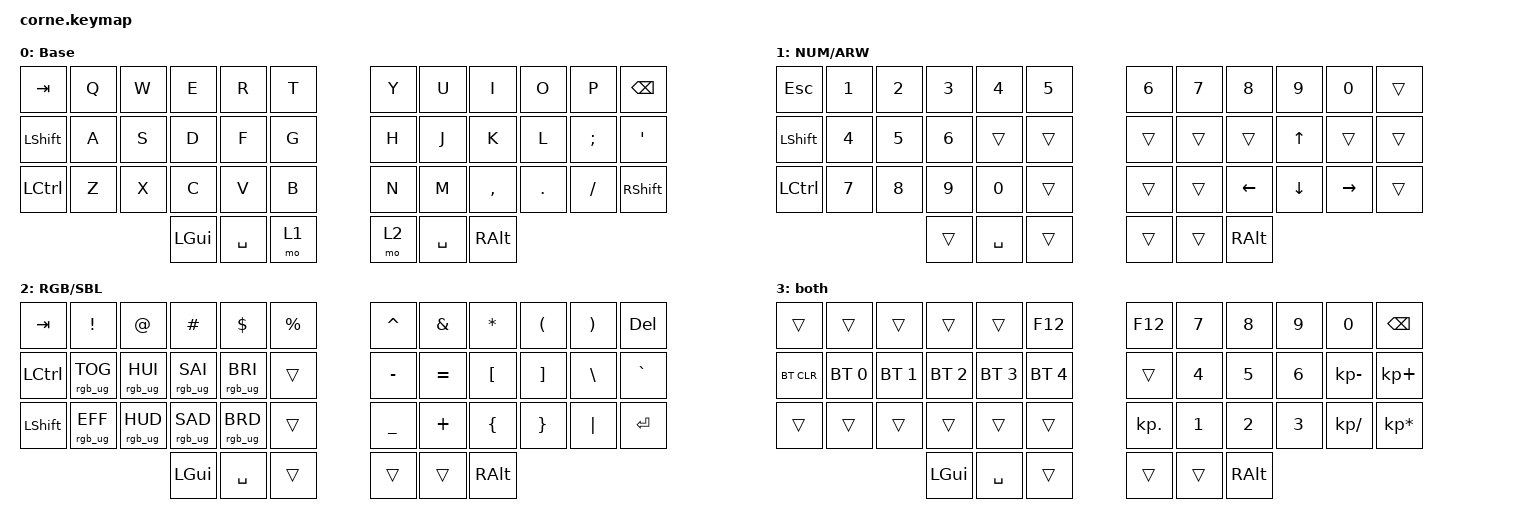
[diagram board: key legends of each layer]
/*
 * Copyright (c) 2020 The ZMK Contributors
 *
 * SPDX-License-Identifier: MIT
 */

#include <behaviors.dtsi>
#include <dt-bindings/zmk/bt.h>
#include <dt-bindings/zmk/keys.h>
#include <dt-bindings/zmk/rgb.h>

/ {
    keymap {
        compatible = "zmk,keymap";

        default_layer {
            // -----------------------------------------------------------------------------------------
            // |  TAB |  Q  |  W  |  E  |  R  |  T  |   |  Y  |  U   |  I  |  O  |  P  | BKSP |
            // | CTRL |  A  |  S  |  D  |  F  |  G  |   |  H  |  J   |  K  |  L  |  ;  |  '   |
            // | SHFT |  Z  |  X  |  C  |  V  |  B  |   |  N  |  M   |  ,  |  .  |  /  | ESC  |
            //                    | GUI | LWR | SPC |   | ENT | RSE  | ALT |

            bindings = <
&kp TAB           &kp Q  &kp W  &kp E     &kp R      &kp T    &kp Y  &kp U      &kp I      &kp O    &kp P     &kp BSPC
&kp LEFT_SHIFT    &kp A  &kp S  &kp D     &kp F      &kp G    &kp H  &kp J      &kp K      &kp L    &kp SEMI  &kp SQT
&kp LEFT_CONTROL  &kp Z  &kp X  &kp C     &kp V      &kp B    &kp N  &kp M      &kp COMMA  &kp DOT  &kp FSLH  &kp RIGHT_SHIFT
                                &kp LGUI  &kp SPACE  &mo 1    &mo 2  &kp SPACE  &kp RALT
            >;

            label = "Base";
        };

        lower_layer {
            // -----------------------------------------------------------------------------------------
            // |  TAB |  1  |  2  |  3  |  4  |  5  |   |  6  |  7  |  8  |  9  |  0  | BKSP |
            // | BTCLR| BT1 | BT2 | BT3 | BT4 | BT5 |   | LFT | DWN |  UP | RGT |     |      |
            // | SHFT |     |     |     |     |     |   |     |     |     |     |     |      |
            //                    | GUI |     | SPC |   | ENT |     | ALT |

            bindings = <
&kp ESCAPE        &kp N1        &kp N2        &kp N3        &kp N4     &kp N5    &kp N6  &kp N7  &kp N8          &kp N9        &kp N0     &trans
&kp LEFT_SHIFT    &kp NUMBER_4  &kp NUMBER_5  &kp NUMBER_6  &trans     &trans    &trans  &trans  &trans          &kp UP_ARROW  &trans     &trans
&kp LEFT_CONTROL  &kp NUMBER_7  &kp NUMBER_8  &kp N9        &kp N0     &trans    &trans  &trans  &kp LEFT_ARROW  &kp DOWN      &kp RIGHT  &trans
                                              &trans        &kp SPACE  &trans    &trans  &trans  &kp RALT
            >;

            label = "NUM/ARW";
        };

        raise_layer {
            // -----------------------------------------------------------------------------------------
            // |  TAB |  !  |  @  |  #  |  $  |  %  |   |  ^  |  &  |  *  |  (  |  )  | BKSP |
            // | CTRL |     |     |     |     |     |   |  -  |  =  |  [  |  ]  |  \  |  `   |
            // | SHFT |     |     |     |     |     |   |  _  |  +  |  {  |  }  | "|" |  ~   |
            //                    | GUI |     | SPC |   | ENT |     | ALT |

            bindings = <
&kp TAB    &kp EXCL         &kp AT           &kp HASH         &kp DLLR         &kp PRCNT    &kp CARET  &kp AMPS   &kp ASTRK  &kp LPAR  &kp RPAR  &kp DEL
&kp LCTRL  &rgb_ug RGB_TOG  &rgb_ug RGB_HUI  &rgb_ug RGB_SAI  &rgb_ug RGB_BRI  &trans       &kp MINUS  &kp EQUAL  &kp LBKT   &kp RBKT  &kp BSLH  &kp GRAVE
&kp LSHFT  &rgb_ug RGB_EFF  &rgb_ug RGB_HUD  &rgb_ug RGB_SAD  &rgb_ug RGB_BRD  &trans       &kp UNDER  &kp PLUS   &kp LBRC   &kp RBRC  &kp PIPE  &kp ENTER
                                             &kp LGUI         &kp SPACE        &trans       &trans     &trans     &kp RALT
            >;

            label = "RGB/SBL";
        };

        both {
            bindings = <
&trans      &trans        &trans        &trans        &trans        &kp F12         &kp F12     &kp N7        &kp N8         &kp N9        &kp N0         &kp BACKSPACE
&bt BT_CLR  &bt BT_SEL 0  &bt BT_SEL 1  &bt BT_SEL 2  &bt BT_SEL 3  &bt BT_SEL 4    &trans      &kp NUMBER_4  &kp N5         &kp NUMBER_6  &kp KP_MINUS   &kp KP_PLUS
&trans      &trans        &trans        &trans        &trans        &trans          &kp KP_DOT  &kp NUMBER_1  &kp NUMBER_2   &kp NUMBER_3  &kp KP_DIVIDE  &kp KP_ASTERISK
                                        &kp LGUI      &kp SPACE     &trans          &trans      &trans        &kp RIGHT_ALT
            >;
        };
    };

    conditional_layers {
        compatible = "zmk,conditional-layers";

        tri_layer {
            if-layers = <1 2>;
            then-layer = <3>;
        };
    };
};
